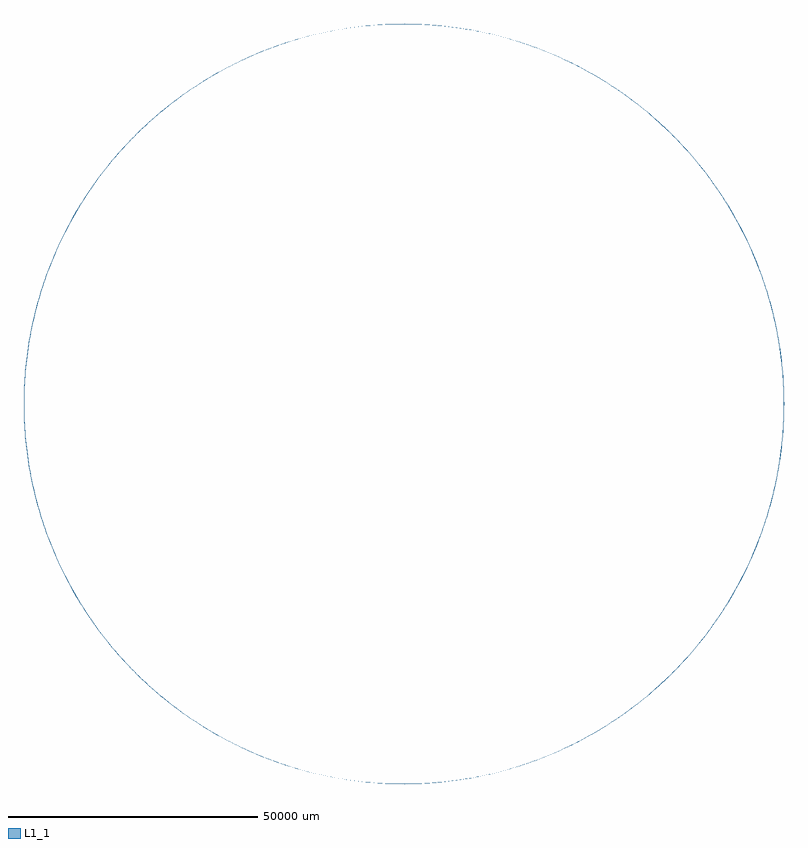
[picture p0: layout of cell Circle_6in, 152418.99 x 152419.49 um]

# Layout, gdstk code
import gdstk
lib = gdstk.Library(unit=1e-6, precision=1e-09)
def P(c, l, *ps):  # polygons
    for p in ps: c.add(gdstk.Polygon(p, *l))
L1_1 = (1, 1)

circle_6in = lib.new_cell('Circle_6in')
P(circle_6in, L1_1, [(76210,0),(76205.944,786.261),(76193.776,1572.439),(76173.498,2358.449),(76145.112,3144.208),(76108.62,3929.632),(76064.028,4714.638),(76011.338,5499.143),(75950.558,6283.061),(75881.693,7066.312),(75804.751,7848.81),(75719.74,8630.472),(75626.669,9411.216),(75525.549,10190.958),(75416.388,10969.615),(75299.201,11747.105),(75173.998,12523.344),(75040.793,13298.25),(74899.601,14071.741),(74750.436,14843.734),(74593.314,15614.146),(74428.253,16382.897),(74255.268,17149.904),(74074.38,17915.086),(73885.607,18678.36),(73688.97,19439.646),(73484.488,20198.863),(73272.185,20955.93),(73052.082,21710.767),(72824.204,22463.292),(72588.573,23213.426),(72345.216,23961.089),(72094.158,24706.202),(71835.427,25448.685),(71569.048,26188.459),(71295.052,26925.446),(71013.467,27659.566),(70724.323,28390.743),(70427.65,29118.897),(70123.481,29843.952),(69811.848,30565.83),(69492.784,31284.454),(69166.323,31999.748),(68832.499,32711.637),(68491.349,33420.043),(68142.908,34124.892),(67787.213,34826.108),(67424.303,35523.618),(67054.216,36217.346),(66676.992,36907.219),(66292.67,37593.164),(65901.292,38275.107),(65502.899,38952.975),(65097.534,39626.698),(64685.239,40296.202),(64266.059,40961.418),(63840.039,41622.273),(63407.222,42278.697),(62967.657,42930.622),(62521.389,43577.976),(62068.466,44220.692),(61608.936,44858.701),(61142.849,45491.935),(60670.253,46120.327),(60191.199,46743.809),(59705.738,47362.316),(59213.921,47975.782),(58715.802,48584.14),(58211.433,49187.328),(57700.867,49785.279),(57184.16,50377.931),(56661.366,50965.221),(56132.54,51547.086),(55597.74,52123.464),(55057.021,52694.293),(54510.442,53259.514),(53958.061,53819.065),(53399.936,54372.888),(52836.127,54920.923),(52266.694,55463.112),(51691.697,55999.398),(51111.198,56529.723),(50525.259,57054.03),(49933.941,57572.264),(49337.309,58084.37),(48735.424,58590.294),(48128.353,59089.98),(47516.158,59583.377),(47509.923,59575.559),(48129.125,59076.453),(48743.084,58570.912),(49351.734,58058.991),(49955.007,57540.744),(50552.839,57016.23),(51145.163,56485.505),(51731.917,55948.627),(52313.034,55405.653),(52888.454,54856.645),(53458.112,54301.66),(54021.946,53740.761),(54579.896,53174.007),(55131.9,52601.46),(55677.898,52023.184),(56217.831,51439.24),(56751.64,50849.693),(57279.267,50254.607),(57800.655,49654.047),(58315.745,49048.077),(58824.484,48436.764),(59326.814,47820.175),(59822.682,47198.377),(60312.032,46571.437),(60794.813,45939.424),(61270.972,45302.407),(61740.455,44660.454),(62203.213,44013.637),(62659.196,43362.025),(63108.352,42705.689),(63550.634,42044.702),(63985.993,41379.134),(64414.381,40709.059),(64835.753,40034.549),(65250.062,39355.678),(65657.263,38672.52),(66057.312,37985.149),(66450.165,37293.64),(66835.779,36598.069),(67214.113,35898.511),(67585.124,35195.042),(67948.774,34487.739),(68305.021,33776.68),(68653.828,33061.941),(68995.156,32343.6),(69328.968,31621.737),(69655.228,30896.428),(69973.9,30167.754),(70284.949,29435.794),(70588.342,28700.627),(70884.046,27962.333),(71172.027,27220.994),(71452.256,26476.689),(71724.702,25729.5),(71989.334,24979.508),(72246.124,24226.795),(72495.044,23471.443),(72736.066,22713.534),(72969.166,21953.151),(73194.316,21190.377),(73411.493,20425.294),(73620.674,19657.986),(73821.834,18888.537),(74014.953,18117.03),(74200.009,17343.549),(74376.982,16568.179),(74545.853,15791.005),(74706.603,15012.11),(74859.215,14231.58),(75003.673,13449.499),(75139.96,12665.954),(75268.062,11881.029),(75387.965,11094.809),(75499.655,10307.381),(75603.121,9518.83),(75698.351,8729.242),(75785.335,7938.703),(75864.063,7147.3),(75934.528,6355.117),(75996.72,5562.243),(76050.634,4768.763),(76096.263,3974.763),(76133.603,3180.33),(76162.649,2385.551),(76183.399,1590.511),(76195.85,795.299),(76200,0)],
  [(47516.158,59583.377),(46898.905,60070.432),(46276.66,60551.092),(45649.49,61025.308),(45017.46,61493.027),(44380.638,61954.201),(43739.093,62408.78),(43092.891,62856.717),(42442.103,63297.962),(41786.797,63732.47),(41127.043,64160.194),(40462.911,64581.088),(39794.472,64995.108),(39121.798,65402.21),(38444.959,65802.35),(37764.027,66195.486),(37079.076,66581.575),(36390.179,66960.578),(35697.407,67332.453),(35000.836,67697.161),(34300.539,68054.663),(33596.592,68404.92),(32889.068,68747.897),(32178.043,69083.556),(31463.593,69411.861),(30745.794,69732.778),(30024.722,70046.272),(29300.454,70352.31),(28573.068,70650.859),(27842.639,70941.888),(27109.248,71225.366),(26372.97,71501.262),(25633.886,71769.548),(24892.073,72030.194),(24147.61,72283.173),(23400.577,72528.457),(22651.053,72766.022),(21899.118,72995.841),(21144.852,73217.89),(20388.335,73432.145),(19629.648,73638.584),(18868.871,73837.184),(18106.086,74027.925),(17341.374,74210.787),(16574.816,74385.749),(15806.493,74552.793),(15036.488,74711.901),(14264.883,74863.056),(13491.759,75006.243),(12717.199,75141.446),(11941.285,75268.651),(11164.1,75387.844),(10385.727,75499.012),(9606.248,75602.143),(8825.747,75697.228),(8044.307,75784.254),(7262.01,75863.214),(6478.94,75934.099),(5695.18,75996.901),(4910.815,76051.614),(4125.926,76098.231),(3340.599,76136.749),(2554.915,76167.162),(1768.96,76189.467),(982.817,76203.662),(196.569,76209.746),(-589.7,76207.718),(-1375.907,76197.579),(-2161.967,76179.328),(-2947.796,76152.968),(-3733.312,76118.503),(-4518.431,76075.935),(-5303.068,76025.269),(-6087.141,75966.511),(-6870.566,75899.667),(-7653.26,75824.743),(-8435.139,75741.749),(-9216.121,75650.692),(-9996.121,75551.583),(-10775.057,75444.432),(-11552.846,75329.25),(-12329.406,75206.049),(-13104.653,75074.844),(-13878.505,74935.647),(-14650.88,74788.474),(-15421.696,74633.34),(-16190.87,74470.261),(-16958.32,74299.256),(-16956.095,74289.507),(-16179.812,74462.431),(-15401.767,74627.244),(-14622.044,74783.928),(-13840.728,74932.465),(-13057.904,75072.839),(-12273.658,75205.035),(-11488.075,75329.039),(-10701.241,75444.837),(-9913.24,75552.417),(-9124.16,75651.766),(-8334.086,75742.874),(-7543.104,75825.732),(-6751.3,75900.329),(-5958.761,75966.658),(-5165.573,76024.712),(-4371.822,76074.484),(-3577.595,76115.97),(-2782.978,76149.163),(-1988.058,76174.061),(-1192.922,76190.662),(-397.655,76198.962),(397.655,76198.962),(1192.922,76190.662),(1988.058,76174.061),(2782.978,76149.163),(3577.595,76115.97),(4371.822,76074.484),(5165.573,76024.712),(5958.761,75966.658),(6751.3,75900.329),(7543.104,75825.732),(8334.086,75742.874),(9124.16,75651.766),(9913.24,75552.417),(10701.241,75444.837),(11488.075,75329.039),(12273.658,75205.035),(13057.904,75072.839),(13840.728,74932.465),(14622.044,74783.928),(15401.767,74627.244),(16179.812,74462.431),(16956.095,74289.507),(17730.531,74108.49),(18503.035,73919.4),(19273.524,73722.258),(20041.913,73517.085),(20808.119,73303.903),(21572.058,73082.736),(22333.647,72853.608),(23092.803,72616.544),(23849.444,72371.569),(24603.487,72118.711),(25354.849,71857.996),(26103.45,71589.454),(26849.207,71313.113),(27592.039,71029.004),(28331.866,70737.157),(29068.606,70437.605),(29802.18,70130.379),(30532.507,69815.514),(31259.508,69493.044),(31983.104,69163.004),(32703.216,68825.429),(33419.765,68480.357),(34132.674,68127.825),(34841.865,67767.872),(35547.26,67400.536),(36248.783,67025.859),(36946.357,66643.879),(37639.907,66254.641),(38329.356,65858.184),(39014.63,65454.554),(39695.654,65043.793),(40372.354,64625.947),(41044.655,64201.061),(41712.486,63769.182),(42375.773,63330.355),(43034.443,62884.63),(43688.426,62432.055),(44337.649,61972.678),(44982.043,61506.551),(45621.537,61033.723),(46256.06,60554.247),(46885.545,60068.175),(47509.923,59575.559)],
  [(-16958.32,74299.256),(-17723.966,74120.342),(-18487.725,73933.539),(-19249.515,73738.865),(-20009.257,73536.343),(-20766.869,73325.993),(-21522.271,73107.838),(-22275.382,72881.901),(-23026.121,72648.206),(-23774.41,72406.778),(-24520.167,72157.643),(-25263.315,71900.828),(-26003.774,71636.358),(-26741.465,71364.264),(-27476.309,71084.573),(-28208.229,70797.316),(-28937.146,70502.523),(-29662.983,70200.225),(-30385.662,69890.455),(-31105.107,69573.245),(-31821.241,69248.63),(-32533.988,68916.643),(-33243.272,68577.321),(-33949.017,68230.699),(-34651.149,67876.815),(-35349.592,67515.705),(-36044.273,67147.409),(-36735.116,66771.965),(-37422.05,66389.414),(-38105,65999.796),(-38783.894,65603.153),(-39458.66,65199.526),(-40129.226,64788.96),(-40795.52,64371.497),(-41457.472,63947.183),(-42115.01,63516.061),(-42768.066,63078.179),(-43416.57,62633.582),(-44060.452,62182.318),(-44699.644,61724.435),(-45334.078,61259.983),(-45963.687,60789.009),(-46588.403,60311.565),(-47208.16,59827.701),(-47822.892,59337.468),(-48432.533,58840.92),(-49037.019,58338.108),(-49636.286,57829.087),(-50230.268,57313.91),(-50818.905,56792.632),(-51402.131,56265.309),(-51979.887,55731.997),(-52552.109,55192.752),(-53118.738,54647.633),(-53679.712,54096.697),(-54234.973,53540.002),(-54784.46,52977.608),(-55328.116,52409.576),(-55865.883,51835.964),(-56397.703,51256.835),(-56923.52,50672.25),(-57443.278,50082.271),(-57956.921,49486.962),(-58464.395,48886.384),(-58965.646,48280.603),(-59460.621,47669.683),(-59949.266,47053.689),(-60431.53,46432.686),(-60907.361,45806.741),(-61376.709,45175.919),(-61839.524,44540.289),(-62295.756,43899.918),(-62745.358,43254.874),(-63188.28,42605.226),(-63624.477,41951.043),(-64053.901,41292.395),(-64476.507,40629.351),(-64892.25,39961.982),(-65301.085,39290.359),(-65702.97,38614.555),(-66097.861,37934.64),(-66485.716,37250.687),(-66866.494,36562.769),(-67240.155,35870.959),(-67606.658,35175.331),(-67965.965,34475.959),(-68318.037,33772.917),(-68662.837,33066.28),(-68653.828,33061.941),(-68305.021,33776.68),(-67948.774,34487.739),(-67585.124,35195.042),(-67214.113,35898.511),(-66835.779,36598.069),(-66450.165,37293.64),(-66057.312,37985.149),(-65657.263,38672.52),(-65250.062,39355.678),(-64835.753,40034.549),(-64414.381,40709.059),(-63985.993,41379.134),(-63550.634,42044.702),(-63108.352,42705.689),(-62659.196,43362.025),(-62203.213,44013.637),(-61740.455,44660.454),(-61270.972,45302.407),(-60794.813,45939.424),(-60312.032,46571.437),(-59822.682,47198.377),(-59326.814,47820.175),(-58824.484,48436.764),(-58315.745,49048.077),(-57800.655,49654.047),(-57279.267,50254.607),(-56751.64,50849.693),(-56217.831,51439.24),(-55677.898,52023.184),(-55131.9,52601.46),(-54579.896,53174.007),(-54021.946,53740.761),(-53458.112,54301.66),(-52888.454,54856.645),(-52313.034,55405.653),(-51731.917,55948.627),(-51145.163,56485.505),(-50552.839,57016.23),(-49955.007,57540.744),(-49351.734,58058.991),(-48743.084,58570.912),(-48129.125,59076.453),(-47509.923,59575.559),(-46885.545,60068.175),(-46256.06,60554.247),(-45621.537,61033.723),(-44982.043,61506.551),(-44337.649,61972.678),(-43688.426,62432.055),(-43034.443,62884.63),(-42375.773,63330.355),(-41712.486,63769.182),(-41044.655,64201.061),(-40372.354,64625.947),(-39695.654,65043.793),(-39014.63,65454.554),(-38329.356,65858.184),(-37639.907,66254.641),(-36946.357,66643.879),(-36248.783,67025.859),(-35547.26,67400.536),(-34841.865,67767.872),(-34132.674,68127.825),(-33419.765,68480.357),(-32703.216,68825.429),(-31983.104,69163.004),(-31259.508,69493.044),(-30532.507,69815.514),(-29802.18,70130.379),(-29068.606,70437.605),(-28331.866,70737.157),(-27592.039,71029.004),(-26849.207,71313.113),(-26103.45,71589.454),(-25354.849,71857.996),(-24603.487,72118.711),(-23849.444,72371.569),(-23092.803,72616.544),(-22333.647,72853.608),(-21572.058,73082.736),(-20808.119,73303.903),(-20041.913,73517.085),(-19273.524,73722.258),(-18503.035,73919.4),(-17730.531,74108.49),(-16956.095,74289.507)],
  [(-68662.837,33066.28),(-69000.329,32356.123),(-69330.476,31642.522),(-69653.243,30925.553),(-69968.596,30205.292),(-70276.501,29481.816),(-70576.926,28755.202),(-70869.838,28025.527),(-71155.206,27292.869),(-71433.001,26557.306),(-71703.192,25818.916),(-71965.75,25077.777),(-72220.648,24333.97),(-72467.859,23587.572),(-72707.356,22838.663),(-72939.113,22087.323),(-73163.107,21333.632),(-73379.313,20577.67),(-73587.708,19819.518),(-73788.27,19059.257),(-73980.978,18296.966),(-74165.811,17532.728),(-74342.75,16766.624),(-74511.775,15998.735),(-74672.869,15229.143),(-74826.014,14457.93),(-74971.195,13685.178),(-75108.395,12910.969),(-75237.6,12135.386),(-75358.797,11358.511),(-75471.973,10580.427),(-75577.115,9801.217),(-75674.212,9020.964),(-75763.254,8239.75),(-75844.231,7457.66),(-75917.136,6674.775),(-75981.959,5891.18),(-76038.695,5106.958),(-76087.336,4322.193),(-76127.879,3536.967),(-76160.318,2751.365),(-76184.651,1965.47),(-76200.874,1179.366),(-76208.986,393.136),(-76208.986,-393.136),(-76200.874,-1179.366),(-76184.651,-1965.47),(-76160.318,-2751.365),(-76127.879,-3536.967),(-76087.336,-4322.193),(-76038.695,-5106.958),(-75981.959,-5891.18),(-75917.136,-6674.775),(-75844.231,-7457.66),(-75763.254,-8239.75),(-75674.212,-9020.964),(-75577.115,-9801.217),(-75471.973,-10580.427),(-75358.797,-11358.511),(-75237.6,-12135.386),(-75108.395,-12910.969),(-74971.195,-13685.178),(-74826.014,-14457.93),(-74672.869,-15229.143),(-74511.775,-15998.735),(-74342.75,-16766.624),(-74165.811,-17532.728),(-73980.978,-18296.966),(-73788.27,-19059.257),(-73587.708,-19819.518),(-73379.313,-20577.67),(-73163.107,-21333.632),(-72939.113,-22087.323),(-72707.356,-22838.663),(-72467.859,-23587.572),(-72220.648,-24333.97),(-71965.75,-25077.777),(-71703.192,-25818.916),(-71433.001,-26557.306),(-71155.206,-27292.869),(-70869.838,-28025.527),(-70576.926,-28755.202),(-70276.501,-29481.816),(-69968.596,-30205.292),(-69653.243,-30925.553),(-69330.476,-31642.522),(-69000.329,-32356.123),(-68662.837,-33066.28),(-68653.828,-33061.941),(-68995.156,-32343.6),(-69328.968,-31621.737),(-69655.228,-30896.428),(-69973.9,-30167.754),(-70284.949,-29435.794),(-70588.342,-28700.627),(-70884.046,-27962.333),(-71172.027,-27220.994),(-71452.256,-26476.689),(-71724.702,-25729.5),(-71989.334,-24979.508),(-72246.124,-24226.795),(-72495.044,-23471.443),(-72736.066,-22713.534),(-72969.166,-21953.151),(-73194.316,-21190.377),(-73411.493,-20425.294),(-73620.674,-19657.986),(-73821.834,-18888.537),(-74014.953,-18117.03),(-74200.009,-17343.549),(-74376.982,-16568.179),(-74545.853,-15791.005),(-74706.603,-15012.11),(-74859.215,-14231.58),(-75003.673,-13449.499),(-75139.96,-12665.954),(-75268.062,-11881.029),(-75387.965,-11094.809),(-75499.655,-10307.381),(-75603.121,-9518.83),(-75698.351,-8729.242),(-75785.335,-7938.703),(-75864.063,-7147.3),(-75934.528,-6355.117),(-75996.72,-5562.243),(-76050.634,-4768.763),(-76096.263,-3974.763),(-76133.603,-3180.33),(-76162.649,-2385.551),(-76183.399,-1590.511),(-76195.85,-795.299),(-76200,0),(-76195.85,795.299),(-76183.399,1590.511),(-76162.649,2385.551),(-76133.603,3180.33),(-76096.263,3974.763),(-76050.634,4768.763),(-75996.72,5562.243),(-75934.528,6355.117),(-75864.063,7147.3),(-75785.335,7938.703),(-75698.351,8729.242),(-75603.121,9518.83),(-75499.655,10307.381),(-75387.965,11094.809),(-75268.062,11881.029),(-75139.96,12665.954),(-75003.673,13449.499),(-74859.215,14231.58),(-74706.603,15012.11),(-74545.853,15791.005),(-74376.982,16568.179),(-74200.009,17343.549),(-74014.953,18117.03),(-73821.834,18888.537),(-73620.674,19657.986),(-73411.493,20425.294),(-73194.316,21190.377),(-72969.166,21953.151),(-72736.066,22713.534),(-72495.044,23471.443),(-72246.124,24226.795),(-71989.334,24979.508),(-71724.702,25729.5),(-71452.256,26476.689),(-71172.027,27220.994),(-70884.046,27962.333),(-70588.342,28700.627),(-70284.949,29435.794),(-69973.9,30167.754),(-69655.228,30896.428),(-69328.968,31621.737),(-68995.156,32343.6),(-68653.828,33061.941)],
  [(-68662.837,-33066.28),(-68318.037,-33772.917),(-67965.965,-34475.959),(-67606.658,-35175.331),(-67240.155,-35870.959),(-66866.494,-36562.769),(-66485.716,-37250.687),(-66097.861,-37934.64),(-65702.97,-38614.555),(-65301.085,-39290.359),(-64892.25,-39961.982),(-64476.507,-40629.351),(-64053.901,-41292.395),(-63624.477,-41951.043),(-63188.28,-42605.226),(-62745.358,-43254.874),(-62295.756,-43899.918),(-61839.524,-44540.289),(-61376.709,-45175.919),(-60907.361,-45806.741),(-60431.53,-46432.686),(-59949.266,-47053.689),(-59460.621,-47669.683),(-58965.646,-48280.603),(-58464.395,-48886.384),(-57956.921,-49486.962),(-57443.278,-50082.271),(-56923.52,-50672.25),(-56397.703,-51256.835),(-55865.883,-51835.964),(-55328.116,-52409.576),(-54784.46,-52977.608),(-54234.973,-53540.002),(-53679.712,-54096.697),(-53118.738,-54647.633),(-52552.109,-55192.752),(-51979.887,-55731.997),(-51402.131,-56265.309),(-50818.905,-56792.632),(-50230.268,-57313.91),(-49636.286,-57829.087),(-49037.019,-58338.108),(-48432.533,-58840.92),(-47822.892,-59337.468),(-47208.16,-59827.701),(-46588.403,-60311.565),(-45963.687,-60789.009),(-45334.078,-61259.983),(-44699.644,-61724.435),(-44060.452,-62182.318),(-43416.57,-62633.582),(-42768.066,-63078.179),(-42115.01,-63516.061),(-41457.472,-63947.183),(-40795.52,-64371.497),(-40129.226,-64788.96),(-39458.66,-65199.526),(-38783.894,-65603.153),(-38105,-65999.796),(-37422.05,-66389.414),(-36735.116,-66771.965),(-36044.273,-67147.409),(-35349.592,-67515.705),(-34651.149,-67876.815),(-33949.017,-68230.699),(-33243.272,-68577.321),(-32533.988,-68916.643),(-31821.241,-69248.63),(-31105.107,-69573.245),(-30385.662,-69890.455),(-29662.983,-70200.225),(-28937.146,-70502.523),(-28208.229,-70797.316),(-27476.309,-71084.573),(-26741.465,-71364.264),(-26003.774,-71636.358),(-25263.315,-71900.828),(-24520.167,-72157.643),(-23774.41,-72406.778),(-23026.121,-72648.206),(-22275.382,-72881.901),(-21522.271,-73107.838),(-20766.869,-73325.993),(-20009.257,-73536.343),(-19249.515,-73738.865),(-18487.725,-73933.539),(-17723.966,-74120.342),(-16958.32,-74299.256),(-16956.095,-74289.507),(-17730.531,-74108.49),(-18503.035,-73919.4),(-19273.524,-73722.258),(-20041.913,-73517.085),(-20808.119,-73303.903),(-21572.058,-73082.736),(-22333.647,-72853.608),(-23092.803,-72616.544),(-23849.444,-72371.569),(-24603.487,-72118.711),(-25354.849,-71857.996),(-26103.45,-71589.454),(-26849.207,-71313.113),(-27592.039,-71029.004),(-28331.866,-70737.157),(-29068.606,-70437.605),(-29802.18,-70130.379),(-30532.507,-69815.514),(-31259.508,-69493.044),(-31983.104,-69163.004),(-32703.216,-68825.429),(-33419.765,-68480.357),(-34132.674,-68127.825),(-34841.865,-67767.872),(-35547.26,-67400.536),(-36248.783,-67025.859),(-36946.357,-66643.879),(-37639.907,-66254.641),(-38329.356,-65858.184),(-39014.63,-65454.554),(-39695.654,-65043.793),(-40372.354,-64625.947),(-41044.655,-64201.061),(-41712.486,-63769.182),(-42375.773,-63330.355),(-43034.443,-62884.63),(-43688.426,-62432.055),(-44337.649,-61972.678),(-44982.043,-61506.551),(-45621.537,-61033.723),(-46256.06,-60554.247),(-46885.545,-60068.175),(-47509.923,-59575.559),(-48129.125,-59076.453),(-48743.084,-58570.912),(-49351.734,-58058.991),(-49955.007,-57540.744),(-50552.839,-57016.23),(-51145.163,-56485.505),(-51731.917,-55948.627),(-52313.034,-55405.653),(-52888.454,-54856.645),(-53458.112,-54301.66),(-54021.946,-53740.761),(-54579.896,-53174.007),(-55131.9,-52601.46),(-55677.898,-52023.184),(-56217.831,-51439.24),(-56751.64,-50849.693),(-57279.267,-50254.607),(-57800.655,-49654.047),(-58315.745,-49048.077),(-58824.484,-48436.764),(-59326.814,-47820.175),(-59822.682,-47198.377),(-60312.032,-46571.437),(-60794.813,-45939.424),(-61270.972,-45302.407),(-61740.455,-44660.454),(-62203.213,-44013.637),(-62659.196,-43362.025),(-63108.352,-42705.689),(-63550.634,-42044.702),(-63985.993,-41379.134),(-64414.381,-40709.059),(-64835.753,-40034.549),(-65250.062,-39355.678),(-65657.263,-38672.52),(-66057.312,-37985.149),(-66450.165,-37293.64),(-66835.779,-36598.069),(-67214.113,-35898.511),(-67585.124,-35195.042),(-67948.774,-34487.739),(-68305.021,-33776.68),(-68653.828,-33061.941)],
  [(-16958.32,-74299.256),(-16190.87,-74470.261),(-15421.696,-74633.34),(-14650.88,-74788.474),(-13878.505,-74935.647),(-13104.653,-75074.844),(-12329.406,-75206.049),(-11552.846,-75329.25),(-10775.057,-75444.432),(-9996.121,-75551.583),(-9216.121,-75650.692),(-8435.139,-75741.749),(-7653.26,-75824.743),(-6870.566,-75899.667),(-6087.141,-75966.511),(-5303.068,-76025.269),(-4518.431,-76075.935),(-3733.312,-76118.503),(-2947.796,-76152.968),(-2161.967,-76179.328),(-1375.907,-76197.579),(-589.7,-76207.718),(196.569,-76209.746),(982.817,-76203.662),(1768.96,-76189.467),(2554.915,-76167.162),(3340.599,-76136.749),(4125.926,-76098.231),(4910.815,-76051.614),(5695.18,-75996.901),(6478.94,-75934.099),(7262.01,-75863.214),(8044.307,-75784.254),(8825.747,-75697.228),(9606.248,-75602.143),(10385.727,-75499.012),(11164.1,-75387.844),(11941.285,-75268.651),(12717.199,-75141.446),(13491.759,-75006.243),(14264.883,-74863.056),(15036.488,-74711.901),(15806.493,-74552.793),(16574.816,-74385.749),(17341.374,-74210.787),(18106.086,-74027.925),(18868.871,-73837.184),(19629.648,-73638.584),(20388.335,-73432.145),(21144.852,-73217.89),(21899.118,-72995.841),(22651.053,-72766.022),(23400.577,-72528.457),(24147.61,-72283.173),(24892.073,-72030.194),(25633.886,-71769.548),(26372.97,-71501.262),(27109.248,-71225.366),(27842.639,-70941.888),(28573.068,-70650.859),(29300.454,-70352.31),(30024.722,-70046.272),(30745.794,-69732.778),(31463.593,-69411.861),(32178.043,-69083.556),(32889.068,-68747.897),(33596.592,-68404.92),(34300.539,-68054.663),(35000.836,-67697.161),(35697.407,-67332.453),(36390.179,-66960.578),(37079.076,-66581.575),(37764.027,-66195.486),(38444.959,-65802.35),(39121.798,-65402.21),(39794.472,-64995.108),(40462.911,-64581.088),(41127.043,-64160.194),(41786.797,-63732.47),(42442.103,-63297.962),(43092.891,-62856.717),(43739.093,-62408.78),(44380.638,-61954.201),(45017.46,-61493.027),(45649.49,-61025.308),(46276.66,-60551.092),(46898.905,-60070.432),(47516.158,-59583.377),(47509.923,-59575.559),(46885.545,-60068.175),(46256.06,-60554.247),(45621.537,-61033.723),(44982.043,-61506.551),(44337.649,-61972.678),(43688.426,-62432.055),(43034.443,-62884.63),(42375.773,-63330.355),(41712.486,-63769.182),(41044.655,-64201.061),(40372.354,-64625.947),(39695.654,-65043.793),(39014.63,-65454.554),(38329.356,-65858.184),(37639.907,-66254.641),(36946.357,-66643.879),(36248.783,-67025.859),(35547.26,-67400.536),(34841.865,-67767.872),(34132.674,-68127.825),(33419.765,-68480.357),(32703.216,-68825.429),(31983.104,-69163.004),(31259.508,-69493.044),(30532.507,-69815.514),(29802.18,-70130.379),(29068.606,-70437.605),(28331.866,-70737.157),(27592.039,-71029.004),(26849.207,-71313.113),(26103.45,-71589.454),(25354.849,-71857.996),(24603.487,-72118.711),(23849.444,-72371.569),(23092.803,-72616.544),(22333.647,-72853.608),(21572.058,-73082.736),(20808.119,-73303.903),(20041.913,-73517.085),(19273.524,-73722.258),(18503.035,-73919.4),(17730.531,-74108.49),(16956.095,-74289.507),(16179.812,-74462.431),(15401.767,-74627.244),(14622.044,-74783.928),(13840.728,-74932.465),(13057.904,-75072.839),(12273.658,-75205.035),(11488.075,-75329.039),(10701.241,-75444.837),(9913.24,-75552.417),(9124.16,-75651.766),(8334.086,-75742.874),(7543.104,-75825.732),(6751.3,-75900.329),(5958.761,-75966.658),(5165.573,-76024.712),(4371.822,-76074.484),(3577.595,-76115.97),(2782.978,-76149.163),(1988.058,-76174.061),(1192.922,-76190.662),(397.655,-76198.962),(-397.655,-76198.962),(-1192.922,-76190.662),(-1988.058,-76174.061),(-2782.978,-76149.163),(-3577.595,-76115.97),(-4371.822,-76074.484),(-5165.573,-76024.712),(-5958.761,-75966.658),(-6751.3,-75900.329),(-7543.104,-75825.732),(-8334.086,-75742.874),(-9124.16,-75651.766),(-9913.24,-75552.417),(-10701.241,-75444.837),(-11488.075,-75329.039),(-12273.658,-75205.035),(-13057.904,-75072.839),(-13840.728,-74932.465),(-14622.044,-74783.928),(-15401.767,-74627.244),(-16179.812,-74462.431),(-16956.095,-74289.507)],
  [(47516.158,-59583.377),(48128.353,-59089.98),(48735.424,-58590.294),(49337.309,-58084.37),(49933.941,-57572.264),(50525.259,-57054.03),(51111.198,-56529.723),(51691.697,-55999.398),(52266.694,-55463.112),(52836.127,-54920.923),(53399.936,-54372.888),(53958.061,-53819.065),(54510.442,-53259.514),(55057.021,-52694.293),(55597.74,-52123.464),(56132.54,-51547.086),(56661.366,-50965.221),(57184.16,-50377.931),(57700.867,-49785.279),(58211.433,-49187.328),(58715.802,-48584.14),(59213.921,-47975.782),(59705.738,-47362.316),(60191.199,-46743.809),(60670.253,-46120.327),(61142.849,-45491.935),(61608.936,-44858.701),(62068.466,-44220.692),(62521.389,-43577.976),(62967.657,-42930.622),(63407.222,-42278.697),(63840.039,-41622.273),(64266.059,-40961.418),(64685.239,-40296.202),(65097.534,-39626.698),(65502.899,-38952.975),(65901.292,-38275.107),(66292.67,-37593.164),(66676.992,-36907.219),(67054.216,-36217.346),(67424.303,-35523.618),(67787.213,-34826.108),(68142.908,-34124.892),(68491.349,-33420.043),(68832.499,-32711.637),(69166.323,-31999.748),(69492.784,-31284.454),(69811.848,-30565.83),(70123.481,-29843.952),(70427.65,-29118.897),(70724.323,-28390.743),(71013.467,-27659.566),(71295.052,-26925.446),(71569.048,-26188.459),(71835.427,-25448.685),(72094.158,-24706.202),(72345.216,-23961.089),(72588.573,-23213.426),(72824.204,-22463.292),(73052.082,-21710.767),(73272.185,-20955.93),(73484.488,-20198.863),(73688.97,-19439.646),(73885.607,-18678.36),(74074.38,-17915.086),(74255.268,-17149.904),(74428.253,-16382.897),(74593.314,-15614.146),(74750.436,-14843.734),(74899.601,-14071.741),(75040.793,-13298.25),(75173.998,-12523.344),(75299.201,-11747.105),(75416.388,-10969.615),(75525.549,-10190.958),(75626.669,-9411.216),(75719.74,-8630.472),(75804.751,-7848.81),(75881.693,-7066.312),(75950.558,-6283.061),(76011.338,-5499.143),(76064.028,-4714.638),(76108.62,-3929.632),(76145.112,-3144.208),(76173.498,-2358.449),(76193.776,-1572.439),(76205.944,-786.261),(76210,0),(76200,0),(76195.85,-795.299),(76183.399,-1590.511),(76162.649,-2385.551),(76133.603,-3180.33),(76096.263,-3974.763),(76050.634,-4768.763),(75996.72,-5562.243),(75934.528,-6355.117),(75864.063,-7147.3),(75785.335,-7938.703),(75698.351,-8729.242),(75603.121,-9518.83),(75499.655,-10307.381),(75387.965,-11094.809),(75268.062,-11881.029),(75139.96,-12665.954),(75003.673,-13449.499),(74859.215,-14231.58),(74706.603,-15012.11),(74545.853,-15791.005),(74376.982,-16568.179),(74200.009,-17343.549),(74014.953,-18117.03),(73821.834,-18888.537),(73620.674,-19657.986),(73411.493,-20425.294),(73194.316,-21190.377),(72969.166,-21953.151),(72736.066,-22713.534),(72495.044,-23471.443),(72246.124,-24226.795),(71989.334,-24979.508),(71724.702,-25729.5),(71452.256,-26476.689),(71172.027,-27220.994),(70884.046,-27962.333),(70588.342,-28700.627),(70284.949,-29435.794),(69973.9,-30167.754),(69655.228,-30896.428),(69328.968,-31621.737),(68995.156,-32343.6),(68653.828,-33061.941),(68305.021,-33776.68),(67948.774,-34487.739),(67585.124,-35195.042),(67214.113,-35898.511),(66835.779,-36598.069),(66450.165,-37293.64),(66057.312,-37985.149),(65657.263,-38672.52),(65250.062,-39355.678),(64835.753,-40034.549),(64414.381,-40709.059),(63985.993,-41379.134),(63550.634,-42044.702),(63108.352,-42705.689),(62659.196,-43362.025),(62203.213,-44013.637),(61740.455,-44660.454),(61270.972,-45302.407),(60794.813,-45939.424),(60312.032,-46571.437),(59822.682,-47198.377),(59326.814,-47820.175),(58824.484,-48436.764),(58315.745,-49048.077),(57800.655,-49654.047),(57279.267,-50254.607),(56751.64,-50849.693),(56217.831,-51439.24),(55677.898,-52023.184),(55131.9,-52601.46),(54579.896,-53174.007),(54021.946,-53740.761),(53458.112,-54301.66),(52888.454,-54856.645),(52313.034,-55405.653),(51731.917,-55948.627),(51145.163,-56485.505),(50552.839,-57016.23),(49955.007,-57540.744),(49351.734,-58058.991),(48743.084,-58570.912),(48129.125,-59076.453),(47509.923,-59575.559)])

lib.write_gds('Circle_6in.gds')
